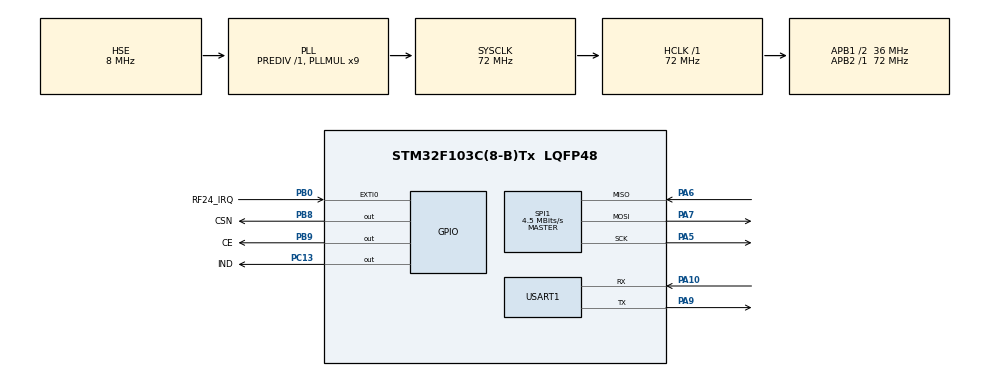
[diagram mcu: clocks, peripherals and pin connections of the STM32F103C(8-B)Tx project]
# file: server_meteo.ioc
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FREERTOS.BinarySemaphores01=semTimeClock,Dynamic,NULL;semRadio,Dynamic,NULL
FREERTOS.HEAP_NUMBER=4
FREERTOS.INCLUDE_vTaskDelayUntil=0
FREERTOS.Mutexes01=unixtimeMutex,Dynamic,NULL
FREERTOS.Queues01=msgUnixTimer,16,uint32_t,0,Dynamic,NULL,NULL;msgPipeAlloc,16,uint32_t,0,Dynamic,NULL,NULL
FREERTOS.Tasks01=defaultTask,1,128,StartDefaultTask,Default,NULL,Dynamic,NULL,NULL;myRadio,0,128,StartRadio,Default,NULL,Dynamic,NULL,NULL
FREERTOS.Timers01=unixTimerCounter,CallbackUnixTimerCounter,osTimerPeriodic,Default,NULL,Dynamic,NULL
FREERTOS.configCHECK_FOR_STACK_OVERFLOW=2
FREERTOS.configMINIMAL_STACK_SIZE=64
FREERTOS.configTIMER_TASK_PRIORITY=2
FREERTOS.configUSE_MALLOC_FAILED_HOOK=1
FREERTOS.configUSE_PREEMPTION=0
FREERTOS.configUSE_STATS_FORMATTING_FUNCTIONS=1
FREERTOS.configUSE_TIMERS=1
Mcu.Family=STM32F1
Mcu.Name=STM32F103C(8-B)Tx
Mcu.Package=LQFP48
NVIC.EXTI0_IRQn=true\:5\:0\:true\:false\:true\:true\:true\:true
NVIC.PriorityGroup=NVIC_PRIORITYGROUP_4
NVIC.TIM4_IRQn=true\:0\:0\:false\:false\:true\:false\:false\:true
NVIC.TimeBase=TIM4_IRQn
NVIC.TimeBaseIP=TIM4
PA10.Mode=Asynchronous
PA10.Signal=USART1_RX
PA13.Mode=Trace_Asynchronous_SW
PA13.Signal=SYS_JTMS-SWDIO
PA14.Mode=Trace_Asynchronous_SW
PA14.Signal=SYS_JTCK-SWCLK
PA5.Mode=Full_Duplex_Master
PA5.Signal=SPI1_SCK
PA6.Mode=Full_Duplex_Master
PA6.Signal=SPI1_MISO
PA7.Mode=Full_Duplex_Master
PA7.Signal=SPI1_MOSI
PA9.Mode=Asynchronous
PA9.Signal=USART1_TX
PB0.GPIO_Label=RF24_IRQ
PB0.GPIO_ModeDefaultEXTI=GPIO_MODE_IT_FALLING
PB0.GPIO_PuPd=GPIO_PULLUP
PB0.Signal=GPXTI0
PB3.Mode=Trace_Asynchronous_SW
PB3.Signal=SYS_JTDO-TRACESWO
PB8.GPIO_Label=CSN
PB8.Signal=GPIO_Output
PB9.GPIO_Label=CE
PB9.Signal=GPIO_Output
PC13-TAMPER-RTC.GPIO_Label=IND
PC13-TAMPER-RTC.Signal=GPIO_Output
PD0-OSC_IN.Mode=HSE-External-Oscillator
PD0-OSC_IN.Signal=RCC_OSC_IN
PD1-OSC_OUT.Mode=HSE-External-Oscillator
PD1-OSC_OUT.Signal=RCC_OSC_OUT
ProjectManager.HeapSize=0x200
ProjectManager.StackSize=0x400
ProjectManager.TargetToolchain=STM32CubeIDE
RCC.AHBFreq_Value=72000000
RCC.APB1CLKDivider=RCC_HCLK_DIV2
RCC.APB1Freq_Value=36000000
RCC.APB1TimFreq_Value=72000000
RCC.APB2Freq_Value=72000000
RCC.APB2TimFreq_Value=72000000
RCC.HCLKFreq_Value=72000000
RCC.PLLMUL=RCC_PLL_MUL9
RCC.PLLSourceVirtual=RCC_PLLSOURCE_HSE
RCC.SYSCLKFreq_VALUE=72000000
RCC.SYSCLKSource=RCC_SYSCLKSOURCE_PLLCLK
RCC.USBFreq_Value=72000000
SPI1.BaudRatePrescaler=SPI_BAUDRATEPRESCALER_16
SPI1.CalculateBaudRate=4.5 MBits/s
SPI1.Direction=SPI_DIRECTION_2LINES
SPI1.Mode=SPI_MODE_MASTER
SPI1.VirtualType=VM_MASTER
USART1.VirtualMode=VM_ASYNC
VP_FREERTOS_VS_CMSIS_V1.Mode=CMSIS_V1
VP_SYS_VS_tim4.Mode=TIM4
board=custom

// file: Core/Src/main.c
/* USER CODE BEGIN Header */
/**
  ******************************************************************************
  * @file           : main.c
  * @brief          : Main program body
  ******************************************************************************
  * @attention
  *
  * <h2><center>&copy; Copyright (c) 2020 STMicroelectronics.
  * All rights reserved.</center></h2>
  *
  * This software component is licensed by ST under BSD 3-Clause license,
  * the "License"; You may not use this file except in compliance with the
  * License. You may obtain a copy of the License at:
  *                        opensource.org/licenses/BSD-3-Clause
  *
  ******************************************************************************
  */
/* USER CODE END Header */

#include "main.h"
#include "cmsis_os.h"

/* USER CODE BEGIN Includes */
#include "RF24.h"
#include <string.h>
#include "meteo_home.h"
#include "receiver.h"
#include <math.h>
#include <stdio.h>
#include <task.h>

#include "receiver.h"
/* USER CODE END Includes */

/* USER CODE BEGIN PTD */
#define SERIAL_DEBUG 1
/* USER CODE END PTD */

/* USER CODE BEGIN PD */
const uint64_t pipe_addresses[6] = {
	0xF0F0F0F0D2LL,
	0xF0F0F0F0E1LL,
	0xF0F0F0F0E2LL,
	0xF0F0F0F0E3LL,
	0xF0F0F0F0E4LL,
	0xF0F0F0F0E5LL
};
/* USER CODE END PD */

SPI_HandleTypeDef hspi1;

UART_HandleTypeDef huart1;

osThreadId defaultTaskHandle;
osThreadId myRadioHandle;
osMessageQId msgUnixTimerHandle;
osMessageQId msgPipeAllocHandle;
osTimerId unixTimerCounterHandle;
osMutexId unixtimeMutexHandle;
osSemaphoreId semTimeClockHandle;
osSemaphoreId semRadioHandle;
/* USER CODE BEGIN PV */
osPoolDef(pipe_pool, 6, struct ReceivedData);
osPoolId  pipe_pool_id;

osTimerId osUnixTimer;
/* USER CODE END PV */

void SystemClock_Config(void);
static void MX_GPIO_Init(void);
static void MX_SPI1_Init(void);
static void MX_USART1_UART_Init(void);
void StartDefaultTask(void const * argument);
void StartRadio(void const * argument);
void CallbackUnixTimerCounter(void const * argument);

/* USER CODE BEGIN PFP */
TickType_t xLastWakeTime,xAfterSent;
const TickType_t xFrequency = 1000;

osEvent event1;

//volatile uint32_t time_counter=0;
//volatile uint32_t _unixtime=0;
/* USER CODE END PFP */

/* USER CODE BEGIN 0 */
volatile   uint32_t _unixtime;
char str_rx[21];
/* USER CODE END 0 */

int main(void)
{

  /* MCU Configuration--------------------------------------------------------*/

  /* Reset of all peripherals, Initializes the Flash interface and the Systick. */
  HAL_Init();

  /* Configure the system clock */
  SystemClock_Config();

  /* Initialize all configured peripherals */
  MX_GPIO_Init();
  MX_SPI1_Init();
  MX_USART1_UART_Init();
  /* USER CODE BEGIN 2 */
  DWT_Init(); // счётчик для микросекундных пауз
  pipe_pool_id = osPoolCreate(osPool(pipe_pool));
  //MX_USB_DEVICE_Init();
  /* USER CODE END 2 */

  /* Create the mutex(es) */
  /* definition and creation of unixtimeMutex */
  osMutexDef(unixtimeMutex);
  unixtimeMutexHandle = osMutexCreate(osMutex(unixtimeMutex));

  /* Create the semaphores(s) */
  /* definition and creation of semTimeClock */
  osSemaphoreDef(semTimeClock);
  semTimeClockHandle = osSemaphoreCreate(osSemaphore(semTimeClock), 1);

  /* definition and creation of semRadio */
  osSemaphoreDef(semRadio);
  semRadioHandle = osSemaphoreCreate(osSemaphore(semRadio), 1);

  /* Create the timer(s) */
  /* definition and creation of unixTimerCounter */
  osTimerDef(unixTimerCounter, CallbackUnixTimerCounter);
  unixTimerCounterHandle = osTimerCreate(osTimer(unixTimerCounter), osTimerPeriodic, NULL);

  /* Create the queue(s) */
  /* definition and creation of msgUnixTimer */
  osMessageQDef(msgUnixTimer, 16, uint32_t);
  msgUnixTimerHandle = osMessageCreate(osMessageQ(msgUnixTimer), NULL);

  /* definition and creation of msgPipeAlloc */
  osMessageQDef(msgPipeAlloc, 16, uint32_t);
  msgPipeAllocHandle = osMessageCreate(osMessageQ(msgPipeAlloc), NULL);

  /* Create the thread(s) */
  /* definition and creation of defaultTask */
  osThreadDef(defaultTask, StartDefaultTask, osPriorityAboveNormal, 0, 128);
  defaultTaskHandle = osThreadCreate(osThread(defaultTask), NULL);

  /* definition and creation of myRadio */
  osThreadDef(myRadio, StartRadio, osPriorityNormal, 0, 128);
  myRadioHandle = osThreadCreate(osThread(myRadio), NULL);

  /* Start scheduler */
  osKernelStart();

  /* We should never get here as control is now taken by the scheduler */
  /* Infinite loop */
  while (1)
  {

  }
}

void SystemClock_Config(void)
{
  RCC_OscInitTypeDef RCC_OscInitStruct = {0};
  RCC_ClkInitTypeDef RCC_ClkInitStruct = {0};

  /** Initializes the CPU, AHB and APB busses clocks
  */
  RCC_OscInitStruct.OscillatorType = RCC_OSCILLATORTYPE_HSE;
  RCC_OscInitStruct.HSEState = RCC_HSE_ON;
  RCC_OscInitStruct.HSEPredivValue = RCC_HSE_PREDIV_DIV1;
  RCC_OscInitStruct.HSIState = RCC_HSI_ON;
  RCC_OscInitStruct.PLL.PLLState = RCC_PLL_ON;
  RCC_OscInitStruct.PLL.PLLSource = RCC_PLLSOURCE_HSE;
  RCC_OscInitStruct.PLL.PLLMUL = RCC_PLL_MUL9;
  if (HAL_RCC_OscConfig(&RCC_OscInitStruct) != HAL_OK)
  {
    Error_Handler();
  }
  /** Initializes the CPU, AHB and APB busses clocks
  */
  RCC_ClkInitStruct.ClockType = RCC_CLOCKTYPE_HCLK|RCC_CLOCKTYPE_SYSCLK
                              |RCC_CLOCKTYPE_PCLK1|RCC_CLOCKTYPE_PCLK2;
  RCC_ClkInitStruct.SYSCLKSource = RCC_SYSCLKSOURCE_PLLCLK;
  RCC_ClkInitStruct.AHBCLKDivider = RCC_SYSCLK_DIV1;
  RCC_ClkInitStruct.APB1CLKDivider = RCC_HCLK_DIV2;
  RCC_ClkInitStruct.APB2CLKDivider = RCC_HCLK_DIV1;

  if (HAL_RCC_ClockConfig(&RCC_ClkInitStruct, FLASH_LATENCY_2) != HAL_OK)
  {
    Error_Handler();
  }
}

static void MX_SPI1_Init(void)
{

  /* SPI1 parameter configuration*/
  hspi1.Instance = SPI1;
  hspi1.Init.Mode = SPI_MODE_MASTER;
  hspi1.Init.Direction = SPI_DIRECTION_2LINES;
  hspi1.Init.DataSize = SPI_DATASIZE_8BIT;
  hspi1.Init.CLKPolarity = SPI_POLARITY_LOW;
  hspi1.Init.CLKPhase = SPI_PHASE_1EDGE;
  hspi1.Init.NSS = SPI_NSS_SOFT;
  hspi1.Init.BaudRatePrescaler = SPI_BAUDRATEPRESCALER_16;
  hspi1.Init.FirstBit = SPI_FIRSTBIT_MSB;
  hspi1.Init.TIMode = SPI_TIMODE_DISABLE;
  hspi1.Init.CRCCalculation = SPI_CRCCALCULATION_DISABLE;
  hspi1.Init.CRCPolynomial = 10;
  if (HAL_SPI_Init(&hspi1) != HAL_OK)
  {
    Error_Handler();
  }

}

static void MX_USART1_UART_Init(void)
{

  huart1.Instance = USART1;
  huart1.Init.BaudRate = 115200;
  huart1.Init.WordLength = UART_WORDLENGTH_8B;
  huart1.Init.StopBits = UART_STOPBITS_1;
  huart1.Init.Parity = UART_PARITY_NONE;
  huart1.Init.Mode = UART_MODE_TX_RX;
  huart1.Init.HwFlowCtl = UART_HWCONTROL_NONE;
  huart1.Init.OverSampling = UART_OVERSAMPLING_16;
  if (HAL_UART_Init(&huart1) != HAL_OK)
  {
    Error_Handler();
  }

}

static void MX_GPIO_Init(void)
{
  GPIO_InitTypeDef GPIO_InitStruct = {0};

  /* GPIO Ports Clock Enable */
  __HAL_RCC_GPIOC_CLK_ENABLE();
  __HAL_RCC_GPIOD_CLK_ENABLE();
  __HAL_RCC_GPIOA_CLK_ENABLE();
  __HAL_RCC_GPIOB_CLK_ENABLE();

  /*Configure GPIO pin Output Level */
  HAL_GPIO_WritePin(IND_GPIO_Port, IND_Pin, GPIO_PIN_RESET);

  /*Configure GPIO pin Output Level */
  HAL_GPIO_WritePin(GPIOB, CSN_Pin|CE_Pin, GPIO_PIN_RESET);

  /*Configure GPIO pin : IND_Pin */
  GPIO_InitStruct.Pin = IND_Pin;
  GPIO_InitStruct.Mode = GPIO_MODE_OUTPUT_PP;
  GPIO_InitStruct.Pull = GPIO_NOPULL;
  GPIO_InitStruct.Speed = GPIO_SPEED_FREQ_LOW;
  HAL_GPIO_Init(IND_GPIO_Port, &GPIO_InitStruct);

  /*Configure GPIO pin : RF24_IRQ_Pin */
  GPIO_InitStruct.Pin = RF24_IRQ_Pin;
  GPIO_InitStruct.Mode = GPIO_MODE_IT_FALLING;
  GPIO_InitStruct.Pull = GPIO_PULLUP;
  HAL_GPIO_Init(RF24_IRQ_GPIO_Port, &GPIO_InitStruct);

  /*Configure GPIO pins : CSN_Pin CE_Pin */
  GPIO_InitStruct.Pin = CSN_Pin|CE_Pin;
  GPIO_InitStruct.Mode = GPIO_MODE_OUTPUT_PP;
  GPIO_InitStruct.Pull = GPIO_NOPULL;
  GPIO_InitStruct.Speed = GPIO_SPEED_FREQ_LOW;
  HAL_GPIO_Init(GPIOB, &GPIO_InitStruct);

  /* EXTI interrupt init*/
  HAL_NVIC_SetPriority(EXTI0_IRQn, 5, 0);
  HAL_NVIC_EnableIRQ(EXTI0_IRQn);

}

/* USER CODE BEGIN 4 */
void HAL_GPIO_EXTI_Callback(uint16_t GPIO_Pin)
{
  if (GPIO_Pin == GPIO_PIN_0)
  {
	  HAL_GPIO_WritePin(CE_GPIO_Port, CE_Pin, 0);
	  osSemaphoreRelease(semRadioHandle);
	  //osMessagePut(msgPipeAllocHandle, 0, 0);
  }
  else
    {
      __NOP();

    }
}
/* USER CODE END 4 */

void StartDefaultTask(void const * argument)
{
  /* USER CODE BEGIN 5 */
	osTimerStart(unixTimerCounterHandle, 1000);
	static osEvent event;
	static uint8_t strT[8];

    //unixtimeToString(unixtime,(char*)&strT);
#if defined( SERIAL_DEBUG)
		  static char str[100] = {0,};
		  sprintf(str, "start time: %s unixtime=%li\r\n",strT,unixtime);
		  HAL_UART_Transmit(&huart1, (uint8_t*)str, strlen(str), 1000);
#endif

  /* Infinite loop */
  for(;;)
  {

	  //event = osMessageGet(msgUnixTimerHandle, osWaitForever);
	  osSemaphoreWait(semTimeClockHandle,osWaitForever);

		  unixtime++;
		  //xSemaphoreGive(unixtimeMutexHandle);
		  if (unixtime % 60 ==0)
		  {
		    unixtimeToString(unixtime,(char*)&strT);
#if defined( SERIAL_DEBUG)
		    snprintf(str,100, "\r\nserver time: %s unixtime=%li  %i\r\n\r\n",strT,unixtime,event.value.v);
		    HAL_UART_Transmit(&huart1, (uint8_t*)str, strlen(str), 1000);
#endif
		  }
	  HAL_GPIO_TogglePin(GPIOC,IND_Pin);
	  //osDelay(1000);
	  osThreadYield ();
  }
  /* USER CODE END 5 */
}

void StartRadio(void const * argument)
{
  /* USER CODE BEGIN StartRadio */
	static osEvent event;
	  receiver_init();
	  uint8_t res = nRF24_Check(); //isChipConnected(); // проверяет подключён ли модуль к SPI

	  static char str[100] = {0,};
	  snprintf(str, 64, "Connected: %s\n", res ? "OK" : "NOT OK");
	  HAL_UART_Transmit(&huart1, (uint8_t*)str, strlen(str), 1000);

	  res = NRF_Init(); // инициализация
#if defined( SERIAL_DEBUG)
	  snprintf(str, 64, "Init: %s\n", res > 0 && res < 255 ? "OK" : "NOT OK");
	  HAL_UART_Transmit(&huart1, (uint8_t*)str, strlen(str), 1000);
#endif
	  ////////////// SET ////////////////

	  setPALevel(RF24_PA_LOW);
	  //uint8_t status = getPALevel();
	  setAutoAck(true);
	  setPayloadSize(sizeof(struct meteo_data_struct));
	  enableDynamicPayloads();
	  enableAckPayload();
	  setChannel(106);
		  openWritingPipe(pipe_addresses[0]);
		  openReadingPipe(1,pipe_addresses[1]); //0xF0F0F0F0E1LL);
		  openReadingPipe(2,pipe_addresses[2]);
		  openReadingPipe(3,pipe_addresses[3]);
		  openReadingPipe(4,pipe_addresses[4]);
		  openReadingPipe(5,pipe_addresses[5]);
		  CreateNullAck(1);
		  writeAckPayload(1,&pipeData[1].ackData, sizeof(struct server_ack ));
		  CreateNullAck(2);
		  writeAckPayload(2,&pipeData[2].ackData, sizeof(struct server_ack ));
		  CreateNullAck(3);
		  writeAckPayload(3,&pipeData[3].ackData, sizeof(struct server_ack ));
		  CreateNullAck(4);
		  writeAckPayload(4,&pipeData[4].ackData, sizeof(struct server_ack ));
		  CreateNullAck(5);
		  writeAckPayload(5,&pipeData[5].ackData, sizeof(struct server_ack ));
		  //writeAckPayload(3,&pipeData[3].ackData, sizeof(struct server_ack ));
		  startListening();

	  //static osEvent event;

  /* Infinite loop */
  for(;;)
  {
	  static uint8_t rx_ready;
	  static uint8_t status;
	  static uint8_t pipeNo;
	  static char strT[8];
	  static struct ReceivedData rData;

	  //event = osMessageGet(msgPipeAllocHandle, osWaitForever);
	  osSemaphoreWait(semRadioHandle,osWaitForever);
	  status = whatHappened();
	  rx_ready = status & (1 << RX_DR);
	  if (rx_ready){
		  while( available(&pipeNo)){              // Read all available payloads
			status = getPayloadSize();
			rData.pipeNo=pipeNo;
			read( &rData.data, sizeof(struct meteo_data_struct));
  			PackDataToAck(&rData);
			writeAckPayload(pipeNo,&pipeData[pipeNo].ackData, sizeof(struct server_ack ));

			#if defined( SERIAL_DEBUG)
		  	unixtimeToString( rData.data.meteo_data.measurement_time,(char*)&strT);
		  	snprintf(str, 100, "\r\npipe %i got: T=%i P=%i H=%i state=%i power=%i q=%i type=%i delay=%lius  time= %s Vcc=%i\r\n",
		  		rData.pipeNo,
		  		rData.data.meteo_data.T,
				rData.data.meteo_data.P,
				rData.data.meteo_data.H,
				rData.data.state,
				rData.data.power,
				rData.data.query,
				rData.data.type_of_data,
				rData.data.round_tripDelay,
					  //pPipeData->data.unixtime,
				strT,
				rData.data.vcc);
	  			HAL_UART_Transmit(&huart1, (uint8_t*)str, strlen(str), 1000);

			  	unixtimeToString( pipeData[pipeNo].ackData.server_time,(char*)&strT);
			  	snprintf(str, 100, "prepared ack: query=%i command=%i T=%i P=%i H=%i time= %s \r\n",
			  		pipeData[pipeNo].ackData.ack_query,
					pipeData[pipeNo].ackData.command,
					pipeData[pipeNo].ackData.meteo_data.T,
					pipeData[pipeNo].ackData.meteo_data.P,
					pipeData[pipeNo].ackData.meteo_data.H,
					strT);
		  			HAL_UART_Transmit(&huart1, (uint8_t*)str, strlen(str), 1000);
	  			unixtimeToString(unixtime,(char*)&strT);
  	  			snprintf(str, 100, "now: time= %s\r\n",strT);
	  			HAL_UART_Transmit(&huart1, (uint8_t*)str, strlen(str), 1000);
	  			osDelay(100);
			#endif

		  	}
		}
		startListening();
		osThreadYield ();
  }
  /* USER CODE END StartRadio */
}

/* CallbackUnixTimerCounter function */
void CallbackUnixTimerCounter(void const * argument)
{
  /* USER CODE BEGIN CallbackUnixTimerCounter */
	//osMessagePut(msgUnixTimerHandle, 0, 0);
	osSemaphoreRelease(semTimeClockHandle);

  /* USER CODE END CallbackUnixTimerCounter */
}

 /**
  * @brief  Period elapsed callback in non blocking mode
  * @note   This function is called  when TIM4 interrupt took place, inside
  * HAL_TIM_IRQHandler(). It makes a direct call to HAL_IncTick() to increment
  * a global variable "uwTick" used as application time base.
  * @param  htim : TIM handle
  * @retval None
  */
void HAL_TIM_PeriodElapsedCallback(TIM_HandleTypeDef *htim)
{
  if (htim->Instance == TIM4) {
    HAL_IncTick();
  }
}

void Error_Handler(void)
{
}

/************************ (C) COPYRIGHT STMicroelectronics *****END OF FILE****/

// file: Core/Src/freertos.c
/* USER CODE BEGIN Header */
/**
  ******************************************************************************
  * File Name          : freertos.c
  * Description        : Code for freertos applications
  ******************************************************************************
  * @attention
  *
  * <h2><center>&copy; Copyright (c) 2020 STMicroelectronics.
  * All rights reserved.</center></h2>
  *
  * This software component is licensed by ST under Ultimate Liberty license
  * SLA0044, the "License"; You may not use this file except in compliance with
  * the License. You may obtain a copy of the License at:
  *                             www.st.com/SLA0044
  *
  ******************************************************************************
  */
/* USER CODE END Header */

#include "FreeRTOS.h"
#include "task.h"
#include "main.h"

/* GetIdleTaskMemory prototype (linked to static allocation support) */
void vApplicationGetIdleTaskMemory( StaticTask_t **ppxIdleTaskTCBBuffer, StackType_t **ppxIdleTaskStackBuffer, uint32_t *pulIdleTaskStackSize );

/* GetTimerTaskMemory prototype (linked to static allocation support) */
void vApplicationGetTimerTaskMemory( StaticTask_t **ppxTimerTaskTCBBuffer, StackType_t **ppxTimerTaskStackBuffer, uint32_t *pulTimerTaskStackSize );

/* Hook prototypes */
void vApplicationStackOverflowHook(xTaskHandle xTask, signed char *pcTaskName);
void vApplicationMallocFailedHook(void);

/* USER CODE BEGIN 4 */
__weak void vApplicationStackOverflowHook(xTaskHandle xTask, signed char *pcTaskName)
{
   /* Run time stack overflow checking is performed if
   configCHECK_FOR_STACK_OVERFLOW is defined to 1 or 2. This hook function is
   called if a stack overflow is detected. */
}
/* USER CODE END 4 */

/* USER CODE BEGIN 5 */
__weak void vApplicationMallocFailedHook(void)
{
   /* vApplicationMallocFailedHook() will only be called if
   configUSE_MALLOC_FAILED_HOOK is set to 1 in FreeRTOSConfig.h. It is a hook
   function that will get called if a call to pvPortMalloc() fails.
   pvPortMalloc() is called internally by the kernel whenever a task, queue,
   timer or semaphore is created. It is also called by various parts of the
   demo application. If heap_1.c or heap_2.c are used, then the size of the
   heap available to pvPortMalloc() is defined by configTOTAL_HEAP_SIZE in
   FreeRTOSConfig.h, and the xPortGetFreeHeapSize() API function can be used
   to query the size of free heap space that remains (although it does not
   provide information on how the remaining heap might be fragmented). */
}
/* USER CODE END 5 */

/* USER CODE BEGIN GET_IDLE_TASK_MEMORY */
static StaticTask_t xIdleTaskTCBBuffer;
static StackType_t xIdleStack[configMINIMAL_STACK_SIZE];

void vApplicationGetIdleTaskMemory( StaticTask_t **ppxIdleTaskTCBBuffer, StackType_t **ppxIdleTaskStackBuffer, uint32_t *pulIdleTaskStackSize )
{
  *ppxIdleTaskTCBBuffer = &xIdleTaskTCBBuffer;
  *ppxIdleTaskStackBuffer = &xIdleStack[0];
  *pulIdleTaskStackSize = configMINIMAL_STACK_SIZE;
  /* place for user code */
}
/* USER CODE END GET_IDLE_TASK_MEMORY */

/* USER CODE BEGIN GET_TIMER_TASK_MEMORY */
static StaticTask_t xTimerTaskTCBBuffer;
static StackType_t xTimerStack[configTIMER_TASK_STACK_DEPTH];

void vApplicationGetTimerTaskMemory( StaticTask_t **ppxTimerTaskTCBBuffer, StackType_t **ppxTimerTaskStackBuffer, uint32_t *pulTimerTaskStackSize )
{
  *ppxTimerTaskTCBBuffer = &xTimerTaskTCBBuffer;
  *ppxTimerTaskStackBuffer = &xTimerStack[0];
  *pulTimerTaskStackSize = configTIMER_TASK_STACK_DEPTH;
  /* place for user code */
}
/* USER CODE END GET_TIMER_TASK_MEMORY */

/************************ (C) COPYRIGHT STMicroelectronics *****END OF FILE****/
